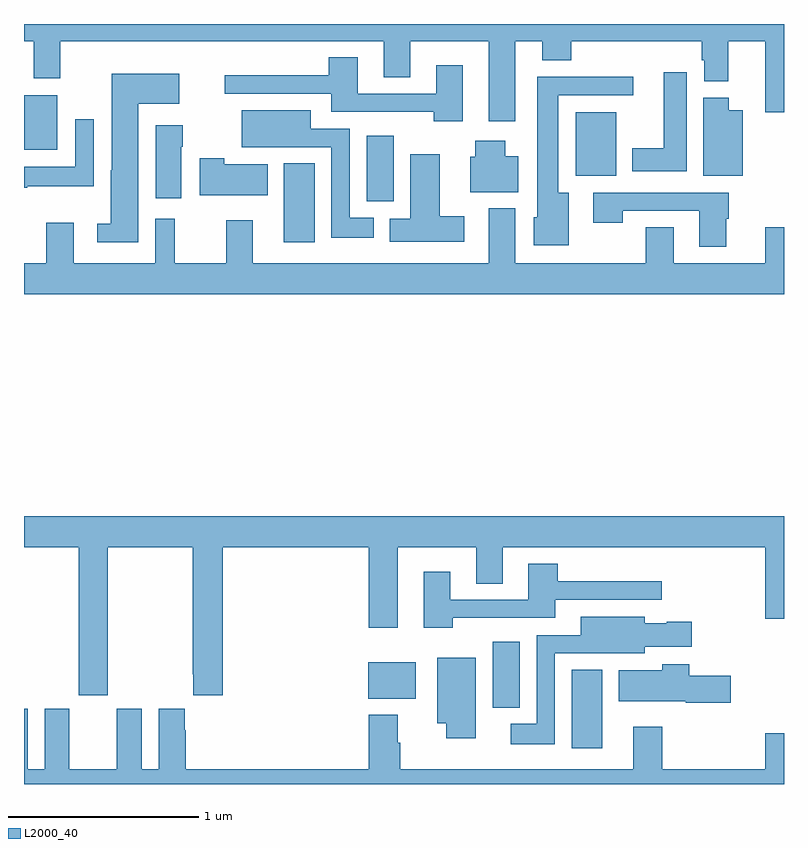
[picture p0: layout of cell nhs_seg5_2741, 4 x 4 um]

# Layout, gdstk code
import gdstk
lib = gdstk.Library(unit=1e-6, precision=1e-09)
def R(c, l, rs):  # rectangles x0, y0, x1, y1
    for r in rs: c.add(gdstk.rectangle(r[:2], r[2:], *l))
def P(c, l, *ps):  # polygons
    for p in ps: c.add(gdstk.Polygon(p, *l))
L2000_40 = (2000, 40)

nhs_seg5_2741 = lib.new_cell('nhs_seg5_2741')
R(nhs_seg5_2741, L2000_40, [(271.883,904.986,272.044,905.401), (271.466,905.201,271.609,905.548), (270.812,905.249,271.063,905.44), (270.368,907.65,270.529,908.065), (270.803,907.865,270.946,908.212), (271.904,908,272.116,908.335), (269,908.138,269.176,908.425)])
P(nhs_seg5_2741, L2000_40, [(271.585,908.708),(271.727,908.708),(271.727,908.609),(271.88,908.609),(271.88,908.708),(272.567,908.708),(272.567,908.607),(272.579,908.607),(272.579,908.497),(272.707,908.497),(272.707,908.708),(272.9,908.708),(272.9,908.334),(273,908.334),(273,908.799),(269,908.799),(269,908.708),(269.051,908.708),(269.051,908.514),(269.191,908.514),(269.191,908.708),(270.893,908.708),(270.893,908.518),(271.033,908.518),(271.033,908.708),(271.445,908.708),(271.445,908.286),(271.585,908.286)],
  [(271.309,908.581),(271.169,908.581),(271.169,908.433),(270.757,908.433),(270.757,908.623),(270.605,908.623),(270.605,908.53),(270.057,908.53),(270.057,908.433),(270.617,908.433),(270.617,908.337),(271.157,908.337),(271.157,908.286),(271.309,908.286)],
  [(272.488,908.545),(272.366,908.545),(272.366,908.146),(272.201,908.146),(272.201,908.024),(272.488,908.024)],
  [(269.602,908.378),(269.818,908.378),(269.818,908.536),(269.462,908.536),(269.462,908.028),(269.456,908.028),(269.456,907.748),(269.385,907.748),(269.385,907.65),(269.602,907.65)],
  [(271.867,907.912),(271.813,907.912),(271.813,908.424),(272.206,908.424),(272.206,908.522),(271.7,908.522),(271.7,907.782),(271.682,907.782),(271.682,907.634),(271.867,907.634)],
  [(272.782,908.344),(272.71,908.344),(272.71,908.412),(272.576,908.412),(272.576,908),(272.782,908)],
  [(270.841,907.78),(270.714,907.78),(270.714,908.247),(270.508,908.247),(270.508,908.344),(270.146,908.344),(270.146,908.15),(270.372,908.15),(270.372,908.151),(270.618,908.151),(270.618,907.673),(270.841,907.673)],
  [(269.018,907.946),(269.367,907.946),(269.367,908.299),(269.271,908.299),(269.271,908.047),(269,908.047),(269,907.936),(269.018,907.936)],
  [(269.827,908.153),(269.835,908.153),(269.835,908.266),(269.693,908.266),(269.693,907.881),(269.827,907.881)],
  [(271.6,908.104),(271.534,908.104),(271.534,908.185),(271.376,908.185),(271.376,908.1),(271.349,908.1),(271.349,907.913),(271.6,907.913)],
  [(271.318,907.787),(271.189,907.787),(271.189,908.113),(271.034,908.113),(271.034,907.774),(270.926,907.774),(270.926,907.652),(271.318,907.652)],
  [(270.283,908.062),(270.054,908.062),(270.054,908.092),(269.924,908.092),(269.924,907.898),(270.283,907.898)],
  [(272.695,907.773),(272.708,907.773),(272.708,907.911),(271.995,907.911),(271.995,907.752),(272.151,907.752),(272.151,907.815),(272.555,907.815),(272.555,907.626),(272.695,907.626)],
  [(273,907.729),(272.9,907.729),(272.9,907.54),(272.419,907.54),(272.419,907.73),(272.272,907.73),(272.272,907.54),(271.585,907.54),(271.585,907.828),(271.445,907.828),(271.445,907.54),(270.205,907.54),(270.205,907.765),(270.065,907.765),(270.065,907.54),(269.794,907.54),(269.794,907.774),(269.69,907.774),(269.69,907.54),(269.263,907.54),(269.263,907.753),(269.116,907.753),(269.116,907.54),(269,907.54),(269,907.376),(273,907.376)],
  [(269,906.044),(269.287,906.044),(269.287,905.265),(269.442,905.265),(269.442,906.044),(269.887,906.044),(269.887,905.377),(269.891,905.377),(269.891,905.265),(270.047,905.265),(270.047,906.044),(270.815,906.044),(270.815,905.622),(270.967,905.622),(270.967,906.044),(271.379,906.044),(271.379,905.854),(271.519,905.854),(271.519,906.044),(272.9,906.044),(272.9,905.67),(273,905.67),(273,906.208),(269,906.208)],
  [(271.256,905.673),(271.795,905.673),(271.795,905.769),(272.356,905.769),(272.356,905.866),(271.808,905.866),(271.808,905.959),(271.655,905.959),(271.655,905.769),(271.243,905.769),(271.243,905.917),(271.103,905.917),(271.103,905.622),(271.256,905.622)],
  [(271.794,905.487),(272.04,905.487),(272.04,905.486),(272.266,905.486),(272.266,905.522),(272.515,905.522),(272.515,905.652),(272.382,905.652),(272.382,905.644),(272.266,905.644),(272.266,905.68),(271.931,905.68),(271.931,905.583),(271.698,905.583),(271.698,905.116),(271.563,905.116),(271.563,905.009),(271.794,905.009)],
  [(271.378,905.464),(271.175,905.464),(271.175,905.12),(271.223,905.12),(271.223,905.04),(271.378,905.04)],
  [(272.719,905.369),(272.501,905.369),(272.501,905.428),(272.359,905.428),(272.359,905.398),(272.129,905.398),(272.129,905.234),(272.484,905.234),(272.484,905.227),(272.719,905.227)],
  [(269.845,905.081),(269.845,905.194),(269.708,905.194),(269.708,904.876),(269.62,904.876),(269.62,905.194),(269.489,905.194),(269.489,904.876),(269.239,904.876),(269.239,905.194),(269.108,905.194),(269.108,904.876),(269.02,904.876),(269.02,905.194),(269,905.194),(269,904.799),(273,904.799),(273,905.065),(272.9,905.065),(272.9,904.876),(272.36,904.876),(272.36,905.101),(272.207,905.101),(272.207,904.876),(270.98,904.876),(270.98,905.015),(270.967,905.015),(270.967,905.164),(270.815,905.164),(270.815,904.876),(269.852,904.876),(269.852,905.081)])

lib.write_gds('nhs_seg5_2741.gds')
